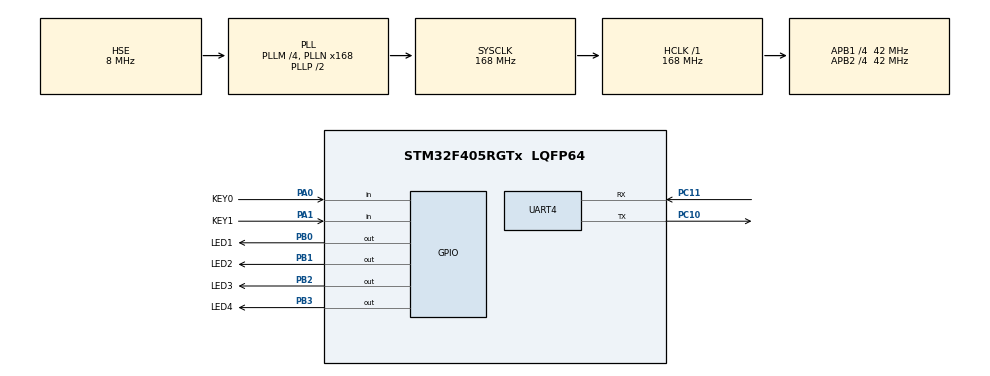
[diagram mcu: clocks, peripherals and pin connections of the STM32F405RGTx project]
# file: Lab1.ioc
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FREERTOS.Events01=myEvent01,Dynamic,NULL
FREERTOS.Tasks01=defaultTask,24,128,StartDefaultTask,Default,NULL,Dynamic,NULL,NULL;myTask02,24,128,StartTask02,Default,NULL,Dynamic,NULL,NULL
FREERTOS.configUSE_NEWLIB_REENTRANT=1
Mcu.Family=STM32F4
Mcu.Name=STM32F405RGTx
Mcu.Package=LQFP64
NVIC.PriorityGroup=NVIC_PRIORITYGROUP_4
NVIC.TIM3_IRQn=true\:5\:0\:false\:false\:true\:true\:true\:true\:true
PA0-WKUP.GPIO_Label=KEY0
PA0-WKUP.GPIO_PuPd=GPIO_PULLUP
PA0-WKUP.Signal=GPIO_Input
PA1.GPIO_Label=KEY1
PA1.GPIO_PuPd=GPIO_PULLUP
PA1.Signal=GPIO_Input
PB0.GPIO_Label=LED1
PB0.Signal=GPIO_Output
PB1.GPIO_Label=LED2
PB1.Signal=GPIO_Output
PB2.GPIO_Label=LED3
PB2.Signal=GPIO_Output
PB3.GPIO_Label=LED4
PB3.Signal=GPIO_Output
PC10.Mode=Asynchronous
PC10.Signal=UART4_TX
PC11.Mode=Asynchronous
PC11.Signal=UART4_RX
PH0-OSC_IN.Mode=HSE-External-Oscillator
PH0-OSC_IN.Signal=RCC_OSC_IN
PH1-OSC_OUT.Mode=HSE-External-Oscillator
PH1-OSC_OUT.Signal=RCC_OSC_OUT
ProjectManager.HeapSize=0x200
ProjectManager.StackSize=0x400
ProjectManager.TargetToolchain=STM32CubeIDE
RCC.48MHZClocksFreq_Value=84000000
RCC.AHBFreq_Value=168000000
RCC.APB1CLKDivider=RCC_HCLK_DIV4
RCC.APB1Freq_Value=42000000
RCC.APB1TimFreq_Value=84000000
RCC.APB2CLKDivider=RCC_HCLK_DIV4
RCC.APB2Freq_Value=42000000
RCC.APB2TimFreq_Value=84000000
RCC.CortexFreq_Value=168000000
RCC.HCLKFreq_Value=168000000
RCC.HSE_VALUE=8000000
RCC.HSI_VALUE=16000000
RCC.LSE_VALUE=32768
RCC.PLLM=4
RCC.PLLN=168
RCC.PLLSourceVirtual=RCC_PLLSOURCE_HSE
RCC.SYSCLKFreq_VALUE=168000000
RCC.SYSCLKSource=RCC_SYSCLKSOURCE_PLLCLK
RCC.VCOOutputFreq_Value=336000000
TIM3.AutoReloadPreload=TIM_AUTORELOAD_PRELOAD_DISABLE
TIM3.Period=99
TIM3.Prescaler=839
UART4.VirtualMode=Asynchronous
VP_FREERTOS_VS_CMSIS_V2.Mode=CMSIS_V2
VP_TIM3_VS_ClockSourceINT.Mode=Internal
board=custom

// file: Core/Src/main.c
/* USER CODE BEGIN Header */
/**
 ******************************************************************************
 * @file           : main.c
 * @brief          : Main program body
 ******************************************************************************
 * @attention
 *
 * Copyright (c) 2022 STMicroelectronics.
 * All rights reserved.
 *
 * This software is licensed under terms that can be found in the LICENSE file
 * in the root directory of this software component.
 * If no LICENSE file comes with this software, it is provided AS-IS.
 *
 ******************************************************************************
 */
/* USER CODE END Header */
#include "main.h"
#include "cmsis_os.h"

/* USER CODE BEGIN Includes */
#include "stdio.h"
/* USER CODE END Includes */

/* USER CODE BEGIN PD */
#define LED_Pin_Port GPIOB
#define KEY_Pin_Port GPIOA

#define swapped      (1UL << 0)
/* USER CODE END PD */

/* USER CODE BEGIN PM */
#ifdef __GNUC__
/* With GCC/RAISONANCE, small printf (option LD Linker->Libraries->Small printf
 set to 'Yes') calls __io_putchar() */
#define PUTCHAR_PROTOTYPE int __io_putchar(int ch)
#else
#define PUTCHAR_PROTOTYPE int fputc(int ch, FILE *f)
#endif /* __GNUC__ */
/* USER CODE END PM */

TIM_HandleTypeDef htim3;

UART_HandleTypeDef huart4;

/* Definitions for defaultTask */
osThreadId_t defaultTaskHandle;
const osThreadAttr_t defaultTask_attributes = {
    .name = "defaultTask",
    .stack_size = 128 * 4,
    .priority = (osPriority_t)osPriorityNormal,
};
/* Definitions for myTask02 */
osThreadId_t myTask02Handle;
const osThreadAttr_t myTask02_attributes = {
    .name = "myTask02",
    .stack_size = 128 * 4,
    .priority = (osPriority_t)osPriorityNormal,
};
/* Definitions for myEvent01 */
osEventFlagsId_t myEvent01Handle;
const osEventFlagsAttr_t myEvent01_attributes = {
    .name = "myEvent01"};
/* USER CODE BEGIN PV */
void (*effect_ptr)(void);
static volatile int time = 500;

/* USER CODE END PV */

void SystemClock_Config(void);
static void MX_GPIO_Init(void);
static void MX_UART4_Init(void);
static void MX_TIM3_Init(void);
void StartDefaultTask(void *argument);
void StartTask02(void *argument);

/* USER CODE BEGIN PFP */
void effect1(void);
void effect2(void);
void swap(void);
void delay(int);
/* USER CODE END PFP */

/* USER CODE BEGIN 0 */
void effect1(void)
{
    HAL_GPIO_TogglePin(LED_Pin_Port, LED1_Pin);
    delay(time);
    HAL_GPIO_TogglePin(LED_Pin_Port, LED2_Pin);
    delay(time);
    HAL_GPIO_TogglePin(LED_Pin_Port, LED3_Pin);
    delay(time);
    HAL_GPIO_TogglePin(LED_Pin_Port, LED4_Pin);
    delay(time);
}
void effect2(void)
{
    HAL_GPIO_TogglePin(LED_Pin_Port, LED1_Pin | LED3_Pin);
    delay(time);
    HAL_GPIO_TogglePin(LED_Pin_Port, LED2_Pin | LED4_Pin);
    HAL_GPIO_TogglePin(LED_Pin_Port, LED1_Pin | LED3_Pin);
    delay(time);
    HAL_GPIO_TogglePin(LED_Pin_Port, LED2_Pin | LED4_Pin);
}
void swap()
{
    if (effect_ptr == &effect1) {
        effect_ptr = &effect2;
    } else {
        effect_ptr = &effect1;
    }
}
void delay(int time)
{
    __HAL_TIM_SetCounter(&htim3, 0);
    while (__HAL_TIM_GetCounter(&htim3) < time)
        ;
}
/* USER CODE END 0 */

int main(void)
{
    /* USER CODE BEGIN 1 */
    effect_ptr = &effect1;
    /* USER CODE END 1 */

    /* MCU Configuration--------------------------------------------------------*/

    /* Reset of all peripherals, Initializes the Flash interface and the Systick. */
    HAL_Init();

    /* Configure the system clock */
    SystemClock_Config();

    /* Initialize all configured peripherals */
    MX_GPIO_Init();
    MX_UART4_Init();
    MX_TIM3_Init();

    /* Init scheduler */
    osKernelInitialize();

    /* Create the thread(s) */
    /* creation of defaultTask */
    defaultTaskHandle = osThreadNew(StartDefaultTask, NULL, &defaultTask_attributes);

    /* creation of myTask02 */
    myTask02Handle = osThreadNew(StartTask02, NULL, &myTask02_attributes);

    /* Create the event(s) */
    /* creation of myEvent01 */
    myEvent01Handle = osEventFlagsNew(&myEvent01_attributes);

    /* Start scheduler */
    osKernelStart();

    /* We should never get here as control is now taken by the scheduler */
    /* Infinite loop */
    while (1) {

    }
}

void SystemClock_Config(void)
{
    RCC_OscInitTypeDef RCC_OscInitStruct = {0};
    RCC_ClkInitTypeDef RCC_ClkInitStruct = {0};

    /** Configure the main internal regulator output voltage
     */
    __HAL_RCC_PWR_CLK_ENABLE();
    __HAL_PWR_VOLTAGESCALING_CONFIG(PWR_REGULATOR_VOLTAGE_SCALE1);

    /** Initializes the RCC Oscillators according to the specified parameters
     * in the RCC_OscInitTypeDef structure.
     */
    RCC_OscInitStruct.OscillatorType = RCC_OSCILLATORTYPE_HSE;
    RCC_OscInitStruct.HSEState = RCC_HSE_ON;
    RCC_OscInitStruct.PLL.PLLState = RCC_PLL_ON;
    RCC_OscInitStruct.PLL.PLLSource = RCC_PLLSOURCE_HSE;
    RCC_OscInitStruct.PLL.PLLM = 4;
    RCC_OscInitStruct.PLL.PLLN = 168;
    RCC_OscInitStruct.PLL.PLLP = RCC_PLLP_DIV2;
    RCC_OscInitStruct.PLL.PLLQ = 4;
    if (HAL_RCC_OscConfig(&RCC_OscInitStruct) != HAL_OK) {
        Error_Handler();
    }

    /** Initializes the CPU, AHB and APB buses clocks
     */
    RCC_ClkInitStruct.ClockType = RCC_CLOCKTYPE_HCLK | RCC_CLOCKTYPE_SYSCLK | RCC_CLOCKTYPE_PCLK1 | RCC_CLOCKTYPE_PCLK2;
    RCC_ClkInitStruct.SYSCLKSource = RCC_SYSCLKSOURCE_PLLCLK;
    RCC_ClkInitStruct.AHBCLKDivider = RCC_SYSCLK_DIV1;
    RCC_ClkInitStruct.APB1CLKDivider = RCC_HCLK_DIV4;
    RCC_ClkInitStruct.APB2CLKDivider = RCC_HCLK_DIV4;

    if (HAL_RCC_ClockConfig(&RCC_ClkInitStruct, FLASH_LATENCY_5) != HAL_OK) {
        Error_Handler();
    }
}

static void MX_TIM3_Init(void)
{

    TIM_ClockConfigTypeDef sClockSourceConfig = {0};
    TIM_MasterConfigTypeDef sMasterConfig = {0};

    htim3.Instance = TIM3;
    htim3.Init.Prescaler = 839;
    htim3.Init.CounterMode = TIM_COUNTERMODE_UP;
    htim3.Init.Period = 99;
    htim3.Init.ClockDivision = TIM_CLOCKDIVISION_DIV1;
    htim3.Init.AutoReloadPreload = TIM_AUTORELOAD_PRELOAD_DISABLE;
    if (HAL_TIM_Base_Init(&htim3) != HAL_OK) {
        Error_Handler();
    }
    sClockSourceConfig.ClockSource = TIM_CLOCKSOURCE_INTERNAL;
    if (HAL_TIM_ConfigClockSource(&htim3, &sClockSourceConfig) != HAL_OK) {
        Error_Handler();
    }
    sMasterConfig.MasterOutputTrigger = TIM_TRGO_RESET;
    sMasterConfig.MasterSlaveMode = TIM_MASTERSLAVEMODE_DISABLE;
    if (HAL_TIMEx_MasterConfigSynchronization(&htim3, &sMasterConfig) != HAL_OK) {
        Error_Handler();
    }
}

static void MX_UART4_Init(void)
{

    huart4.Instance = UART4;
    huart4.Init.BaudRate = 115200;
    huart4.Init.WordLength = UART_WORDLENGTH_8B;
    huart4.Init.StopBits = UART_STOPBITS_1;
    huart4.Init.Parity = UART_PARITY_NONE;
    huart4.Init.Mode = UART_MODE_TX_RX;
    huart4.Init.HwFlowCtl = UART_HWCONTROL_NONE;
    huart4.Init.OverSampling = UART_OVERSAMPLING_16;
    if (HAL_UART_Init(&huart4) != HAL_OK) {
        Error_Handler();
    }
}

static void MX_GPIO_Init(void)
{
    GPIO_InitTypeDef GPIO_InitStruct = {0};

    /* GPIO Ports Clock Enable */
    __HAL_RCC_GPIOH_CLK_ENABLE();
    __HAL_RCC_GPIOA_CLK_ENABLE();
    __HAL_RCC_GPIOB_CLK_ENABLE();
    __HAL_RCC_GPIOC_CLK_ENABLE();

    /*Configure GPIO pin Output Level */
    HAL_GPIO_WritePin(GPIOB, LED1_Pin | LED2_Pin | LED3_Pin | LED4_Pin, GPIO_PIN_RESET);

    /*Configure GPIO pins : KEY0_Pin KEY1_Pin */
    GPIO_InitStruct.Pin = KEY0_Pin | KEY1_Pin;
    GPIO_InitStruct.Mode = GPIO_MODE_INPUT;
    GPIO_InitStruct.Pull = GPIO_PULLUP;
    HAL_GPIO_Init(GPIOA, &GPIO_InitStruct);

    /*Configure GPIO pins : LED1_Pin LED2_Pin LED3_Pin LED4_Pin */
    GPIO_InitStruct.Pin = LED1_Pin | LED2_Pin | LED3_Pin | LED4_Pin;
    GPIO_InitStruct.Mode = GPIO_MODE_OUTPUT_PP;
    GPIO_InitStruct.Pull = GPIO_NOPULL;
    GPIO_InitStruct.Speed = GPIO_SPEED_FREQ_LOW;
    HAL_GPIO_Init(GPIOB, &GPIO_InitStruct);
}

/* USER CODE BEGIN 4 */

/**
 * @brief Retargets the C library printf function to the USART.
 * @param None
 * @retval None
 */
PUTCHAR_PROTOTYPE
{
    /* Place your implementation of fputc here */
    /* e.g. write a character to the USART */
    HAL_UART_Transmit(&huart4, (uint8_t *)&ch, sizeof(ch) - 1, 100);
    return ch;
}
/* USER CODE END 4 */

void StartDefaultTask(void *argument)
{
    /* USER CODE BEGIN 5 */
    /* Infinite loop */
    for (;;) {
        if (osEventFlagsWait(myEvent01Handle, swapped, osFlagsWaitAny, 50) == swapped) {
            HAL_GPIO_WritePin(LED_Pin_Port, LED1_Pin | LED2_Pin | LED3_Pin | LED4_Pin, GPIO_PIN_RESET);
        }
        (*effect_ptr)(); // run effect
        printf("%d\n", time);
        osDelay(1);
    }
    /* USER CODE END 5 */
}

void StartTask02(void *argument)
{
    /* USER CODE BEGIN StartTask02 */
    /* Infinite loop */
    for (;;) {
        if (HAL_GPIO_ReadPin(KEY_Pin_Port, KEY0_Pin) == GPIO_PIN_RESET || HAL_GPIO_ReadPin(KEY_Pin_Port, KEY1_Pin) == GPIO_PIN_RESET) {
            osDelay(100);
            if (HAL_GPIO_ReadPin(KEY0_GPIO_Port, KEY0_Pin) == GPIO_PIN_RESET && HAL_GPIO_ReadPin(KEY1_GPIO_Port, KEY1_Pin) == GPIO_PIN_RESET) {
                while (HAL_GPIO_ReadPin(KEY0_GPIO_Port, KEY0_Pin) == GPIO_PIN_RESET && HAL_GPIO_ReadPin(KEY1_GPIO_Port, KEY1_Pin) == GPIO_PIN_RESET)
                    ;
                swap();
                osEventFlagsSet(myEvent01Handle, swapped);
            } else if (HAL_GPIO_ReadPin(KEY0_GPIO_Port, KEY0_Pin) == GPIO_PIN_RESET) {
                while (HAL_GPIO_ReadPin(KEY0_GPIO_Port, KEY0_Pin) == GPIO_PIN_RESET)
                    ;
                // decrease time
                time -= 100;
            } else if (HAL_GPIO_ReadPin(KEY0_GPIO_Port, KEY1_Pin) == GPIO_PIN_RESET) {
                while (HAL_GPIO_ReadPin(KEY1_GPIO_Port, KEY1_Pin) == GPIO_PIN_RESET)
                    ;
                time += 100;
            }
        }
        osDelay(1);
    }
    /* USER CODE END StartTask02 */
}

void Error_Handler(void)
{
    __disable_irq();
    while (1) {
    }
}
